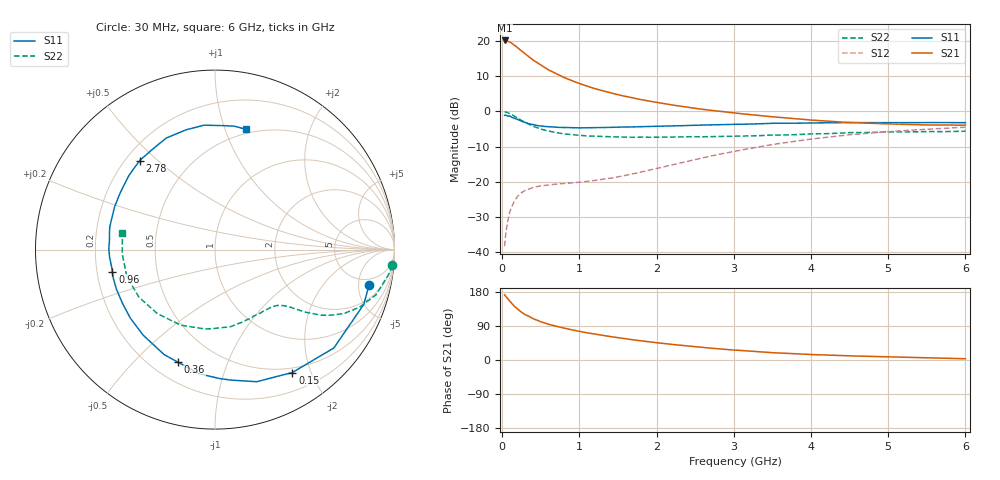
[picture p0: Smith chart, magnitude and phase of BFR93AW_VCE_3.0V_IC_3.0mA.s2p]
! Infineon Technologies  Discrete & RF Semiconductors
! BFR93AW
! VCE =  3.0 V,  IC =  3.0 mA
! Common Emitter S-Parameters:  Nov 2015
# GHz  S  MA  R  50
!  f  S11  S21  S12  S22
! GHz  MAG  ANG  MAG  ANG  MAG  ANG  MAG  ANG
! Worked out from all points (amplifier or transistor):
!   206 points, 30 MHz to 6 GHz, reference 50 ohm
!   highest |S21| = 20.2 dB at 30 MHz (marker M1)
!   |S21| within 3 dB of that: start of sweep to 251.3 MHz
!   unconditionally stable (mu >= 1): 1.095 GHz to 2.369 GHz
!   at 200 MHz: K = 0.21, MSG = 21.1 dB, |S12| = -24.1 dB
!   at 1.56 GHz: K = 1.13, MAG = 9.2 dB, |S12| = -18.3 dB
!   at 6 GHz: K = 0.98, MSG = 0.3 dB, |S12| = -4.5 dB
!   S11 on the Smith chart (normalised r, x): 30 MHz: 3.74, -6.64; 150 MHz: 0.44, -1.73; 360 MHz: 0.31, -0.68; 960 MHz: 0.26, -0.10; 2.78 GHz: 0.26, +0.44; 6 GHz: 0.46, +1.18
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0.03  0.8806 -13.1  10.18 172.2  0.0122 83.5  0.9918 -5.1
0.05  0.8834 -20.2  10.14 166.6  0.0202 80.4  0.9764 -8.3
0.1  0.8596 -39.6  9.674 154.3  0.0382 69.9  0.9309 -15.8
0.15  0.8092 -57.8  8.851 143.0  0.0517 60.9  0.8669 -21.7
0.2  0.7717 -72.5  8.037 133.9  0.0626 54.3  0.8033 -26.3
0.26  0.7185 -88.1  7.079 124.7  0.0713 48.4  0.733 -29.9
0.3  0.6972 -97.3  6.524 119.4  0.0758 45.5  0.6934 -31.8
0.36  0.6605 -108.1  5.802 113.6  0.0801 42.4  0.646 -33.4
0.4  0.6501 -115.8  5.361 108.9  0.0832 40.6  0.6147 -34.6
0.5  0.6225 -130.0  4.532 100.7  0.088 37.9  0.5606 -36.3
0.6  0.6069 -141.0  3.887 94.3  0.0902 37.3  0.5254 -37.5
0.8  0.5918 -158.2  3.033 83.9  0.0948 38.2  0.4792 -40.4
0.96  0.585 -167.9  2.581 77.2  0.0978 40.9  0.4621 -42.7
1.04  0.5852 -172.5  2.402 74.1  0.0997 42.4  0.454 -44.3
1.2  0.5915 179.7  2.104 68.3  0.1046 45.8  0.4445 -47.5
1.5  0.5998 167.9  1.726 58.9  0.1177 53.2  0.4348 -54.5
2.02  0.6141 150.4  1.331 45.1  0.1563 61.9  0.4314 -68.7
2.78  0.6488 130.3  1.014 29.9  0.2425 64.4  0.44 -91.1
3.1  0.6572 122.6  0.927 25.0  0.2831 62.5  0.4458 -100.8
4.1  0.6872 101.9  0.742 13.7  0.4166 51.3  0.4808 -135.3
5.1  0.6921 86.3  0.659 7.8  0.5251 37.0  0.5119 -165.8
6  0.6922 75.5  0.638 3.3  0.5964 24.9  0.5236 170.0
